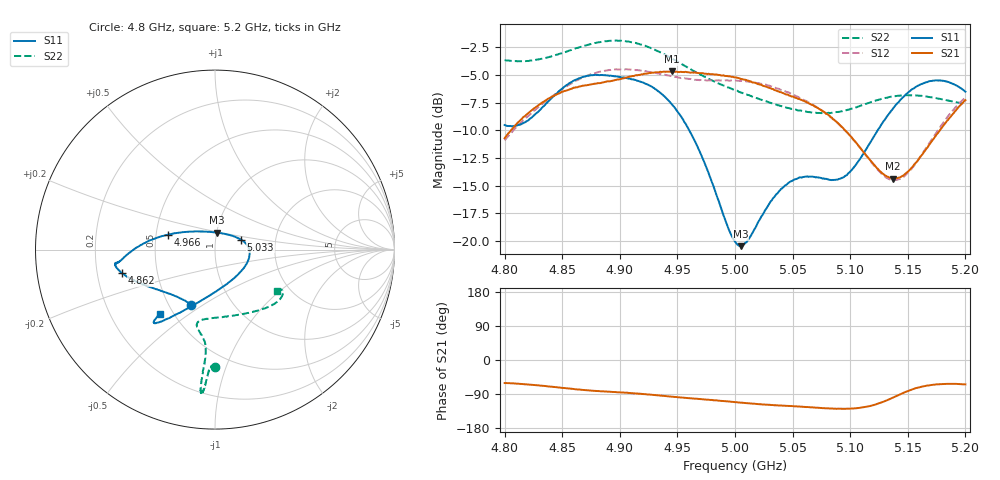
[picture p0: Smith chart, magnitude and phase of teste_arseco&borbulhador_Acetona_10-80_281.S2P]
! Network Analyzer HP8722D
! Hewlett-Packard
! Data name: Linha & Wilkinson
! Saver's name: Rodrigo Anjos
! Comments: Teste da utilização de aquisição
! continua pelo VNA HP8722D
! Time and date: 17/4/2025 16:42
!  Frequency  S11  S21  S12  S22
# HZ  S  MA R 50
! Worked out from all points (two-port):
!   401 points, 4.8 GHz to 5.2 GHz, reference 50 ohm
!   highest |S21| = -4.68 dB at 4.945 GHz (marker M1); lowest = -14.4 dB at 5.137 GHz (marker M2)
!   |S21| within 3 dB of the highest: 4.83 GHz to 5.066 GHz (236.3 MHz wide, 4.77 % of centre); 5.196131 GHz to end of sweep
!   lowest |S11| = -20.5 dB at 5.005 GHz (marker M3), VSWR 1.21, Z = 50.4 + j9.54 ohm
!   |S11| at or under -10 dB: 4.96 GHz to 5.124 GHz (163.5 MHz wide, 3.24 % of centre)
!   |S22| runs from -8.5 to -1.9 dB; largest |S21 - S12| = 0.87
!   S11 on the Smith chart (normalised r, x): 4.8 GHz: 0.64, -0.44; 4.862 GHz: 0.31, -0.11; 4.966 GHz: 0.58, +0.10; 5.033 GHz: 1.33, +0.15; 5.2 GHz: 0.42, -0.39
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4.8e9  0.3339 -113.6  0.2912 -60.9  0.2849 -175.1  0.6562 -90.1
4.819e9  0.3474 -133.6  0.3723 -64.0  0.361 -173.7  0.65 -91.7
4.839e9  0.4326 -152.2  0.4418 -69.9  0.4404 -174.0  0.679 -92.8
4.862e9  0.5356 -166.0  0.4947 -77.3  0.53 -177.0  0.743 -93.9
4.867e9  0.549 -168.0  0.5013 -78.8  0.5449 -178.1  0.7551 -94.2
4.899e9  0.551 -172.4  0.5359 -85.3  0.5953 175.3  0.8024 -95.5
4.934e9  0.4721 -178.3  0.5782 -93.7  0.5716 171.6  0.7157 -95.9
4.945e9  0.4157 176.5  0.5831 -96.8  0.5555 171.9  0.6691 -95.5
4.966e9  0.2769 162.6  0.5756 -102.0  0.5345 173.7  0.5791 -95.2
5e9  0.09928 100.2  0.5481 -111.3  0.5308 176.0  0.4793 -99.1
5.005e9  0.0947 82.3  0.5391 -112.7  0.5278 176.0  0.4683 -100.3
5.012e9  0.1022 59.6  0.5284 -114.2  0.5232 175.8  0.4561 -101.9
5.033e9  0.156 20.8  0.486 -118.9  0.4956 174.6  0.4174 -103.5
5.049e9  0.1862 4.3  0.4496 -121.5  0.4613 174.1  0.395 -99.9
5.067e9  0.1953 -14.8  0.4111 -124.8  0.415 173.5  0.3801 -90.5
5.096e9  0.197 -65.6  0.3143 -128.6  0.3143 174.4  0.3891 -67.8
5.134e9  0.3773 -116.8  0.1934 -103.6  0.1899 -156.5  0.447 -43.0
5.137e9  0.3956 -118.6  0.1914 -99.5  0.1884 -151.6  0.4498 -41.7
5.151e9  0.4715 -124.9  0.2079 -80.7  0.2056 -130.2  0.4558 -36.5
5.17e9  0.5279 -129.1  0.2781 -66.0  0.2833 -112.3  0.4462 -32.0
5.184e9  0.5246 -130.4  0.3487 -63.0  0.3605 -107.3  0.432 -31.1
5.2e9  0.4725 -130.7  0.4327 -64.5  0.4448 -106.5  0.4151 -33.5
